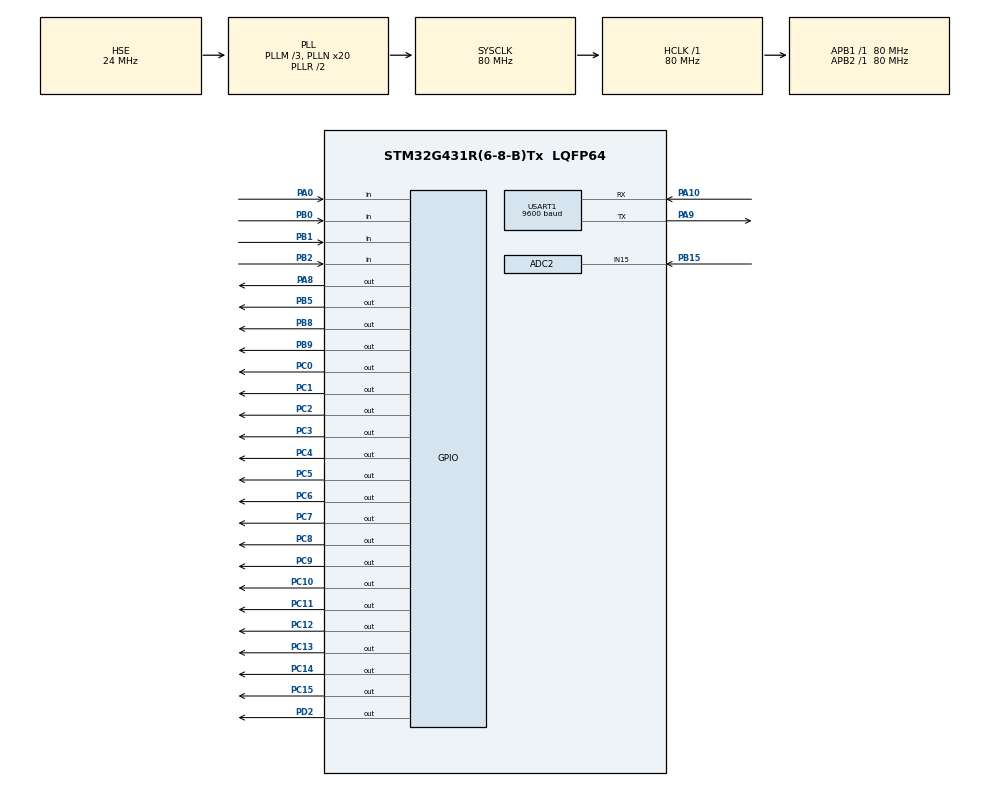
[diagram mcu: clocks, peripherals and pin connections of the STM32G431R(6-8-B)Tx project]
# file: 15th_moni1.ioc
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ADC2.Channel-0\#ChannelRegularConversion=ADC_CHANNEL_15
ADC2.NbrOfConversionFlag=1
ADC2.OffsetNumber-0\#ChannelRegularConversion=ADC_OFFSET_NONE
ADC2.Rank-0\#ChannelRegularConversion=1
ADC2.SamplingTime-0\#ChannelRegularConversion=ADC_SAMPLETIME_2CYCLES_5
Mcu.Family=STM32G4
Mcu.Name=STM32G431R(6-8-B)Tx
Mcu.Package=LQFP64
NVIC.PriorityGroup=NVIC_PRIORITYGROUP_4
NVIC.TIM4_IRQn=true\:0\:0\:false\:false\:true\:true\:true\:true
NVIC.USART1_IRQn=true\:0\:0\:false\:false\:true\:true\:true\:true
PA0.Signal=GPIO_Input
PA10.Mode=Asynchronous
PA10.Signal=USART1_RX
PA13.Mode=Serial_Wire
PA13.Signal=SYS_JTMS-SWDIO
PA14.Mode=Serial_Wire
PA14.Signal=SYS_JTCK-SWCLK
PA8.Signal=GPIO_Output
PA9.Mode=Asynchronous
PA9.Signal=USART1_TX
PB0.Signal=GPIO_Input
PB1.Signal=GPIO_Input
PB15.Mode=IN15-Single-Ended
PB15.Signal=ADC2_IN15
PB2.Signal=GPIO_Input
PB5.Signal=GPIO_Output
PB8-BOOT0.Signal=GPIO_Output
PB9.Signal=GPIO_Output
PC0.Signal=GPIO_Output
PC1.Signal=GPIO_Output
PC10.Signal=GPIO_Output
PC11.Signal=GPIO_Output
PC12.Signal=GPIO_Output
PC13.Signal=GPIO_Output
PC14-OSC32_IN.Signal=GPIO_Output
PC15-OSC32_OUT.Signal=GPIO_Output
PC2.Signal=GPIO_Output
PC3.Signal=GPIO_Output
PC4.Signal=GPIO_Output
PC5.Signal=GPIO_Output
PC6.Signal=GPIO_Output
PC7.Signal=GPIO_Output
PC8.Signal=GPIO_Output
PC9.Signal=GPIO_Output
PD2.Signal=GPIO_Output
PF0-OSC_IN.Mode=HSE-External-Oscillator
PF0-OSC_IN.Signal=RCC_OSC_IN
PF1-OSC_OUT.Mode=HSE-External-Oscillator
PF1-OSC_OUT.Signal=RCC_OSC_OUT
ProjectManager.HeapSize=0x200
ProjectManager.StackSize=0x400
ProjectManager.TargetToolchain=MDK-ARM V5.32
RCC.ADC12Freq_Value=80000000
RCC.AHBFreq_Value=80000000
RCC.APB1Freq_Value=80000000
RCC.APB1TimFreq_Value=80000000
RCC.APB2Freq_Value=80000000
RCC.APB2TimFreq_Value=80000000
RCC.CortexFreq_Value=80000000
RCC.EXTERNAL_CLOCK_VALUE=12288000
RCC.HCLKFreq_Value=80000000
RCC.HSE_VALUE=24000000
RCC.HSI48_VALUE=48000000
RCC.HSI_VALUE=16000000
RCC.LSE_VALUE=32768
RCC.PLLM=RCC_PLLM_DIV3
RCC.PLLN=20
RCC.PLLSourceVirtual=RCC_PLLSOURCE_HSE
RCC.SYSCLKFreq_VALUE=80000000
RCC.SYSCLKSource=RCC_SYSCLKSOURCE_PLLCLK
RCC.USBFreq_Value=80000000
RCC.VCOOutputFreq_Value=160000000
TIM4.PeriodNoDither=10000-1
TIM4.Prescaler=80-1
USART1.BaudRate=9600
USART1.VirtualMode-Asynchronous=VM_ASYNC
VP_SYS_VS_DBSignals.Mode=DisableDeadBatterySignals
VP_TIM4_VS_ClockSourceINT.Mode=Internal
board=custom

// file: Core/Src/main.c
/* USER CODE BEGIN Header */
/**
  ******************************************************************************
  * @file           : main.c
  * @brief          : Main program body
  ******************************************************************************
  * @attention
  *
  * Copyright (c) 2024 STMicroelectronics.
  * All rights reserved.
  *
  * This software is licensed under terms that can be found in the LICENSE file
  * in the root directory of this software component.
  * If no LICENSE file comes with this software, it is provided AS-IS.
  *
  ******************************************************************************
  */
/* USER CODE END Header */
#include "main.h"
#include "adc.h"
#include "tim.h"
#include "usart.h"
#include "gpio.h"

/* USER CODE BEGIN Includes */

#include "lcd.h"
#include "led.h"
#include "myusart.h"
#include "timer.h"
#include "myadc.h"

#include "stdio.h"
#include "string.h"

/* USER CODE END Includes */

/* USER CODE BEGIN PTD */

__IO uint32_t uwTick_Lcd;
__IO uint32_t uwTick_Led;
__IO uint32_t uwTick_Usart;
unsigned char ucled=0x00;
unsigned char lcd_text[30];
unsigned char usart_text[30];

unsigned char view=0;
unsigned char N=0;//导航方向:0:直行；1:右转；2：左转
double D;//与前方车辆的距离，单位为米
double R37_V;

/* USER CODE END PTD */

void SystemClock_Config(void);
/* USER CODE BEGIN PFP */

void Lcd_proc(void);
void key_proc(void);
void usart_proc(void);
void led_proc(void);

/* USER CODE END PFP */

int main(void)
{

  /* MCU Configuration--------------------------------------------------------*/

  /* Reset of all peripherals, Initializes the Flash interface and the Systick. */
  HAL_Init();

  /* Configure the system clock */
  SystemClock_Config();

  /* Initialize all configured peripherals */
  MX_GPIO_Init();
  MX_ADC2_Init();
  MX_TIM4_Init();
  MX_USART1_UART_Init();
  /* USER CODE BEGIN 2 */

    led_disp(ucled);

    LCD_Init();
    LCD_Clear(Black);
    LCD_SetBackColor(Black);
    LCD_SetTextColor(White);

    HAL_TIM_Base_Start_IT(&htim4);

    HAL_UART_Receive_IT(&huart1,&rxdat,1);

  /* USER CODE END 2 */

  /* Infinite loop */
  while (1)
  {

    /* USER CODE BEGIN 3 */
      key_proc();
      if(rx_pointer!=0)
      {
          int temp=rx_pointer;
          HAL_Delay(2);
          if(temp==rx_pointer)
          {
              usart_proc();
          }
      }

      Lcd_proc();

      led_proc();
  }
  /* USER CODE END 3 */
}

void SystemClock_Config(void)
{
  RCC_OscInitTypeDef RCC_OscInitStruct = {0};
  RCC_ClkInitTypeDef RCC_ClkInitStruct = {0};

  /** Configure the main internal regulator output voltage
  */
  HAL_PWREx_ControlVoltageScaling(PWR_REGULATOR_VOLTAGE_SCALE1);

  /** Initializes the RCC Oscillators according to the specified parameters
  * in the RCC_OscInitTypeDef structure.
  */
  RCC_OscInitStruct.OscillatorType = RCC_OSCILLATORTYPE_HSE;
  RCC_OscInitStruct.HSEState = RCC_HSE_ON;
  RCC_OscInitStruct.PLL.PLLState = RCC_PLL_ON;
  RCC_OscInitStruct.PLL.PLLSource = RCC_PLLSOURCE_HSE;
  RCC_OscInitStruct.PLL.PLLM = RCC_PLLM_DIV3;
  RCC_OscInitStruct.PLL.PLLN = 20;
  RCC_OscInitStruct.PLL.PLLP = RCC_PLLP_DIV2;
  RCC_OscInitStruct.PLL.PLLQ = RCC_PLLQ_DIV2;
  RCC_OscInitStruct.PLL.PLLR = RCC_PLLR_DIV2;
  if (HAL_RCC_OscConfig(&RCC_OscInitStruct) != HAL_OK)
  {
    Error_Handler();
  }

  /** Initializes the CPU, AHB and APB buses clocks
  */
  RCC_ClkInitStruct.ClockType = RCC_CLOCKTYPE_HCLK|RCC_CLOCKTYPE_SYSCLK
                              |RCC_CLOCKTYPE_PCLK1|RCC_CLOCKTYPE_PCLK2;
  RCC_ClkInitStruct.SYSCLKSource = RCC_SYSCLKSOURCE_PLLCLK;
  RCC_ClkInitStruct.AHBCLKDivider = RCC_SYSCLK_DIV1;
  RCC_ClkInitStruct.APB1CLKDivider = RCC_HCLK_DIV1;
  RCC_ClkInitStruct.APB2CLKDivider = RCC_HCLK_DIV1;

  if (HAL_RCC_ClockConfig(&RCC_ClkInitStruct, FLASH_LATENCY_2) != HAL_OK)
  {
    Error_Handler();
  }
}

/* USER CODE BEGIN 4 */

void Lcd_proc(void)
{
    if((uwTick-uwTick_Lcd)<100)return;
    uwTick_Lcd=uwTick;

     R37_V=Get_Adc(&hadc2);

    if(R37_V>=3.0)
    {
        D=300;
    }
    else
    {
        D=R37_V*100.0;
    }
    switch(view)
    {
        case 0:
            memset(lcd_text,0,sizeof(lcd_text));
            sprintf((char *)lcd_text,"        DATA          ");
            LCD_DisplayStringLine(Line1,lcd_text);

            memset(lcd_text,0,sizeof(lcd_text));
            switch(N)
            {
                case 0://直行
                    sprintf((char *)lcd_text,"       N:S       ");
                    break;
                case 1://右转
                    sprintf((char *)lcd_text,"       N:R       ");
                    break;
                case 2://左转
                    sprintf((char *)lcd_text,"       N:L       ");
                    break;
            }
            LCD_DisplayStringLine(Line3,lcd_text);

            memset(lcd_text,0,sizeof(lcd_text));
            sprintf((char *)lcd_text,"       D:%0.1f       ",D);
            LCD_DisplayStringLine(Line4,lcd_text);

            break;
        case 1://偏离方向界面
            memset(lcd_text,0,sizeof(lcd_text));
            sprintf((char *)lcd_text,"        WARN          ");
            LCD_DisplayStringLine(Line4,lcd_text);

            break;
    }
}

void key_proc(void)
{

    if(1==key[0].single_flag)//在偏离导航界面下，按下B1表示车辆掉头成功，界面切换会数据界面，同时导航方向变为直行
    {
        key[0].single_flag=0;
        if(1==view)
        {
            //掉头成功
            view=0;
            N=0;
            LCD_Clear(Black);
            //车辆调头成功，返回固定字符串“Success\r\n”。
            memset(usart_text,0,sizeof(usart_text));
            sprintf((char *)usart_text,"Success\r\n");
            HAL_UART_Transmit(&huart1,usart_text,9,50);
        }
    }
    else if(1==key[1].single_flag)
    {
        key[1].single_flag=0;
    }
    else if(1==key[2].single_flag)//在车辆行驶数据界面下，当导航方向为左转时，5S内按下B3完成左转，5S内未按下B3界面切换未偏离导航界面
    {
        key[2].single_flag=0;
        if(0==view)
        {
            //完成左转后，导航方向切换回直行
            if(2==N&&(L_sec<500))
            {
                N=0;
                //LCD_Clear(Black);
                //L_sec=0;
                memset(usart_text,0,sizeof(usart_text));
                sprintf((char *)usart_text,"Success\r\n");
                HAL_UART_Transmit(&huart1,usart_text,9,20);
            }
            else if(0==N)//在导航方向为直行（S）时,即串口未接收到字符‘L’或‘R’，按键B3或B4，界面切换为偏离导航界面。
            {
                view=1;
                LCD_Clear(Black);
                //串口未接收到字符‘L’或‘R’,车辆完成左转或右转时，串口返回字符串“Warn\r\n”。
                memset(usart_text,0,sizeof(usart_text));
                sprintf((char *)usart_text,"Warn\r\n");
                HAL_UART_Transmit(&huart1,usart_text,6,20);
            }
            else if(L_sec>=500)//不在5S内左转，切换为偏离导航界面
            {
                view=1;
                //L_sec=0;
                LCD_Clear(Black);
            }
            L_sec=0;
        }

    }
    else if(1==key[3].single_flag)//在车辆行驶数据界面下，当导航方向为右转时，5S内按下B3完成右转，5S内未按下B3界面切换未偏离导航界面
    {
        key[3].single_flag=0;
        if(0==view)
        {

            //完成右转后，导航方向切换回直行
            if(1==N&&(R_sec<500))
            {
                N=0;
                //LCD_Clear(Black);
                memset(usart_text,0,sizeof(usart_text));
                sprintf((char *)usart_text,"Success\r\n");
                HAL_UART_Transmit(&huart1,usart_text,9,20);
            }
            else if(0==N)//在导航方向为直行（S）时，即串口未接收到字符‘L’或‘R’，按键B3或B4，界面切换为偏离导航界面。
            {
                view=1;
                LCD_Clear(Black);
                //串口未接收到字符‘L’或‘R’,车辆完成左转或右转时，串口返回字符串“Warn\r\n”。
                memset(usart_text,0,sizeof(usart_text));
                sprintf((char *)usart_text,"Warn\r\n");
                HAL_UART_Transmit(&huart1,usart_text,6,20);
            }
            else if(R_sec>=500)//不在5S内右转，切换为偏离导航界面
            {
                view=1;
                //R_sec=0;
                LCD_Clear(Black);
            }
            R_sec=0;

        }

    }

    if(0==view)
    {
       if((1==N)&&(R_sec>500))//右转,且5S内未按下B3键
       {
           view=1;
           N=0;
           R_sec=0;
           LCD_Clear(Black);
           memset(usart_text,0,sizeof(usart_text));
           sprintf((char *)usart_text,"Warn\r\n");
           HAL_UART_Transmit(&huart1,usart_text,7,20);
       }
       else if(2==N&&(L_sec>500))//左转,且5S内未按下B3键
        {
            view=1;
            N=0;
            L_sec=0;
            LCD_Clear(Black);
            memset(usart_text,0,sizeof(usart_text));
            sprintf((char *)usart_text,"Warn\r\n");
            HAL_UART_Transmit(&huart1,usart_text,7,20);
        }
    }
}

void usart_proc(void)
{
    if((uwTick-uwTick_Usart)<20)return;
    uwTick_Usart=uwTick;
    if(rx_pointer!=0)
    {
        //车辆行驶数据界面下
        if(0==view){
            if(0==strcmp((char *)rxdata,"L"))
            {
                //串口收到字符左，导航方向变为左转
                N=2;

            }
            else if(0==strcmp((char *)rxdata,"R"))
            {
                //串口收到字符R，导航方向变为右转
                N=1;

            }
            else
            {
               //串口收到其他非法字符时，返回固定字符串“ERROR\r\n”。
               memset(usart_text,0,sizeof(usart_text));
               sprintf((char *)usart_text,"ERROR\r\n");
               HAL_UART_Transmit(&huart1,usart_text,7,20);
            }
        }
        //偏离导航界面下
        else if(1==view)
        {
            //串口收到任意字符，返回固定字符串“WAIT\r\n”。
            memset(usart_text,0,sizeof(usart_text));
            sprintf((char *)usart_text,"WAIT\r\n");
            HAL_UART_Transmit(&huart1,usart_text,6,20);
        }
        rx_pointer=0;
        memset(rxdata,0,sizeof(rxdata));
    }
}

void led_proc(void)
{
    if((uwTick-uwTick_Led)<50)return;
    uwTick_Led=uwTick;
    //在偏离导航界面下，指示灯LD8点亮，否则熄灭；
    if(1==view)
    {
        ucled|=0x80;
    }
    else
    {
        ucled&=0x7f;
    }
    led_disp(ucled);
}

/* USER CODE END 4 */

void Error_Handler(void)
{
  __disable_irq();
  while (1)
  {
  }
}
